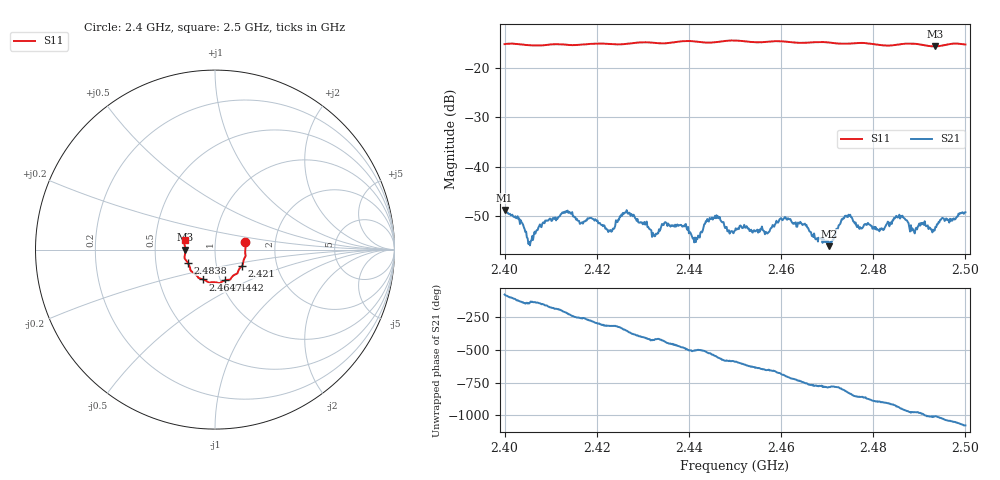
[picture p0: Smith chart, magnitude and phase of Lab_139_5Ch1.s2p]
# Hz S RI R 50
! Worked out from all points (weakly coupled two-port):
!   601 points, 2.4 GHz to 2.5 GHz, reference 50 ohm
!   highest |S21| = -48.72 dB at 2.4 GHz (marker M1); lowest = -56.1 dB at 2.4703 GHz (marker M2)
!   lowest |S11| = -15.7 dB at 2.4933 GHz (marker M3), VSWR 1.40, Z = 35.8 + j0.00842 ohm
!   |S11| at or under -10 dB: start of sweep to end of sweep
!   S12 and S22 are empty: the file has one direction only
!   S11 on the Smith chart (normalised r, x): 2.4 GHz: 1.40, +0.12; 2.421 GHz: 1.33, -0.25; 2.4442 GHz: 1.05, -0.37; 2.4647 GHz: 0.83, -0.29; 2.4838 GHz: 0.73, -0.11; 2.5 GHz: 0.71, +0.08
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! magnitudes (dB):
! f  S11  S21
! 2.4 GHz  -15.2  -48.7
! 2.4033 GHz  -15.2  -51.6
! 2.4053 GHz  -15.4  -55.2
! 2.4132 GHz  -15.3  -49.3
! 2.4167 GHz  -15.3  -51.3
! 2.421 GHz  -15.1  -51.8
! 2.423 GHz  -15.2  -52.8
! 2.4267 GHz  -15.1  -49.4
! 2.4333 GHz  -15.0  -53.5
! 2.4388 GHz  -14.6  -51.9
! 2.4413 GHz  -14.7  -54.3
! 2.4442 GHz  -14.9  -50.9
! 2.45 GHz  -14.5  -52.9
! 2.4647 GHz  -14.9  -51.8
! 2.4667 GHz  -14.8  -54.0
! 2.4703 GHz  -14.9  -56.1
! 2.4743 GHz  -15.1  -49.9
! 2.4773 GHz  -15.0  -52.5
! 2.4833 GHz  -15.5  -51.2
! 2.4838 GHz  -15.5  -51.2
! 2.4933 GHz  -15.7  -52.8
! 2.5 GHz  -15.3  -49.2
